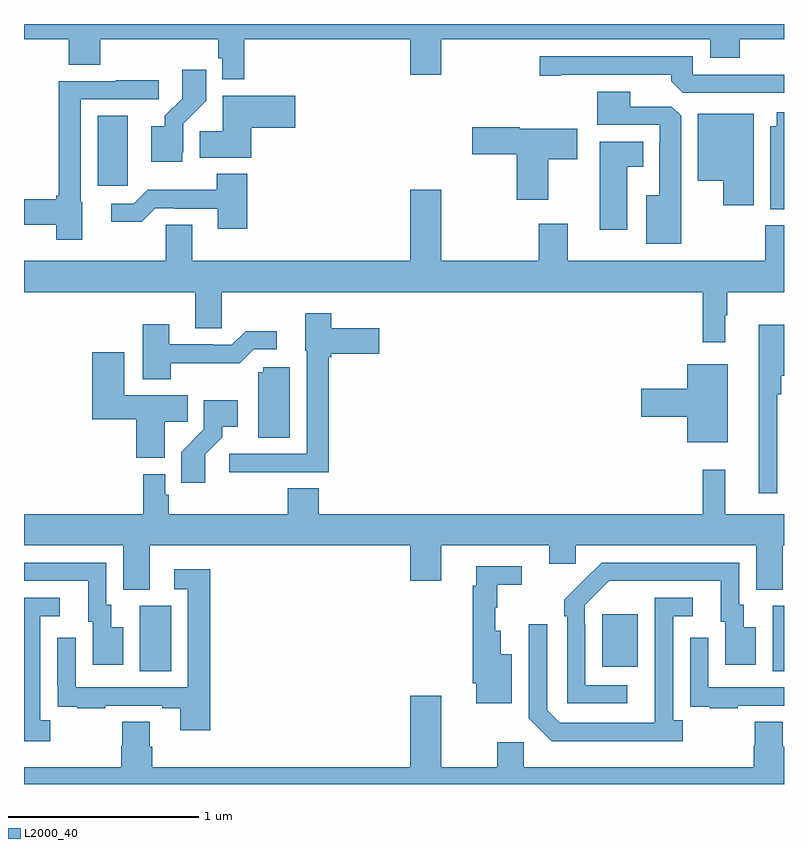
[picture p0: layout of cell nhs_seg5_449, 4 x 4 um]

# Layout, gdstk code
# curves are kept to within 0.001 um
import gdstk
lib = gdstk.Library(unit=1e-6, precision=1e-09)
def R(c, l, rs):  # rectangles x0, y0, x1, y1
    for r in rs: c.add(gdstk.rectangle(r[:2], r[2:], *l))
def P(c, l, *ps):  # polygons
    for p in ps: c.add(gdstk.Polygon(p, *l))
L2000_40 = (2000, 40)

nhs_seg5_449 = lib.new_cell('nhs_seg5_449')
R(nhs_seg5_449, L2000_40, [(139.61,893.392,139.774,893.736), (142.94,893.392,143,893.736), (142.043,893.417,142.231,893.692), (139.388,895.947,139.546,896.317)])
P(nhs_seg5_449, L2000_40, [(140.159,896.72),(141.032,896.72),(141.032,896.532),(141.196,896.532),(141.196,896.72),(142.613,896.72),(142.613,896.621),(142.766,896.621),(142.766,896.72),(143,896.72),(143,896.799),(139,896.799),(139,896.72),(139.235,896.72),(139.235,896.584),(139.4,896.584),(139.4,896.72),(140.023,896.72),(140.023,896.619),(140.043,896.619),(140.043,896.507),(140.159,896.507)],
  [(143,896.532),(142.521,896.532),(142.521,896.628),(141.714,896.628),(141.714,896.527),(141.826,896.527),(141.826,896.532),(142.406,896.532),(142.406,896.498),(142.467,896.436),(143,896.436)],
  [(139.834,896.124),(139.839,896.124),(139.839,896.275),(139.958,896.394),(139.958,896.557),(139.833,896.557),(139.833,896.405),(139.742,896.315),(139.742,896.26),(139.67,896.26),(139.67,896.075),(139.834,896.075)],
  [(139.306,895.86),(139.299,895.86),(139.299,896.403),(139.708,896.403),(139.708,896.502),(139.483,896.502),(139.483,896.499),(139.183,896.499),(139.183,895.895),(139.17,895.895),(139.17,895.877),(139,895.877),(139,895.742),(139.17,895.742),(139.17,895.664),(139.306,895.664)],
  [(142.459,896.315),(142.41,896.364),(142.192,896.364),(142.192,896.443),(142.016,896.443),(142.016,896.268),(142.347,896.268),(142.347,896.171),(142.343,896.171),(142.343,895.897),(142.274,895.897),(142.274,895.643),(142.459,895.643)],
  [(140.195,896.252),(140.428,896.252),(140.428,896.422),(140.045,896.422),(140.045,896.234),(139.924,896.234),(139.924,896.096),(140.195,896.096)],
  [(143,896.335),(142.961,896.335),(142.961,896.26),(142.928,896.26),(142.928,895.825),(143,895.825)],
  [(142.84,896.326),(142.547,896.326),(142.547,895.973),(142.679,895.973),(142.679,895.845),(142.84,895.845)],
  [(141.76,896.086),(141.913,896.086),(141.913,896.248),(141.609,896.248),(141.609,896.256),(141.36,896.256),(141.36,896.114),(141.593,896.114),(141.593,895.875),(141.76,895.875)],
  [(142.174,896.048),(142.258,896.048),(142.258,896.179),(142.031,896.179),(142.031,895.716),(142.174,895.716)],
  [(140.174,896.011),(140.014,896.011),(140.014,895.927),(139.651,895.927),(139.578,895.854),(139.458,895.854),(139.458,895.757),(139.619,895.757),(139.692,895.83),(139.792,895.83),(139.792,895.827),(140.021,895.827),(140.021,895.722),(140.174,895.722)],
  [(142.69,895.265),(142.702,895.265),(142.702,895.388),(143,895.388),(143,895.74),(142.9,895.74),(142.9,895.552),(141.862,895.552),(141.862,895.747),(141.71,895.747),(141.71,895.552),(141.196,895.552),(141.196,895.927),(141.032,895.927),(141.032,895.552),(139.885,895.552),(139.885,895.742),(139.746,895.742),(139.746,895.552),(139,895.552),(139,895.388),(139.901,895.388),(139.901,895.198),(140.04,895.198),(140.04,895.388),(142.573,895.388),(142.573,895.125),(142.69,895.125)],
  [(140.303,894.441),(140.603,894.441),(140.603,895.046),(140.616,895.046),(140.616,895.064),(140.869,895.064),(140.869,895.198),(140.616,895.198),(140.616,895.276),(140.48,895.276),(140.48,895.08),(140.487,895.08),(140.487,894.537),(140.079,894.537),(140.079,894.439),(140.303,894.439)],
  [(139.773,895.014),(140.135,895.013),(140.208,895.086),(140.329,895.086),(140.329,895.183),(140.167,895.183),(140.094,895.11),(139.994,895.11),(139.994,895.113),(139.765,895.113),(139.765,895.219),(139.625,895.219),(139.625,894.929),(139.773,894.929)],
  [(142.965,894.851),(142.985,894.851),(142.985,894.947),(143,894.947),(143,895.216),(142.868,895.216),(142.868,894.33),(142.965,894.33)],
  [(139.741,894.706),(139.862,894.706),(139.862,894.844),(139.528,894.844),(139.528,895.072),(139.358,895.072),(139.358,894.719),(139.592,894.719),(139.592,894.515),(139.741,894.515)],
  [(142.705,895.009),(142.49,895.009),(142.49,894.878),(142.248,894.878),(142.248,894.731),(142.49,894.731),(142.49,894.599),(142.705,894.599)],
  [(140.398,894.993),(140.259,894.993),(140.259,894.966),(140.234,894.966),(140.234,894.622),(140.398,894.622)],
  [(139.954,894.535),(140.044,894.625),(140.044,894.68),(140.125,894.68),(140.125,894.82),(139.947,894.82),(139.947,894.665),(139.828,894.546),(139.828,894.384),(139.954,894.384)],
  [(139.663,894.056),(141.032,894.056),(141.032,893.868),(141.196,893.868),(141.196,894.056),(141.764,894.056),(141.764,893.958),(141.903,893.958),(141.903,894.056),(142.853,894.056),(142.853,893.821),(142.993,893.821),(142.993,894.056),(143,894.056),(143,894.22),(142.691,894.22),(142.691,894.454),(142.573,894.454),(142.573,894.22),(140.552,894.22),(140.552,894.356),(140.387,894.356),(140.387,894.22),(139.763,894.22),(139.763,894.321),(139.743,894.321),(139.743,894.43),(139.627,894.43),(139.627,894.22),(139,894.22),(139,894.056),(139.523,894.056),(139.523,893.821),(139.663,893.821)],
  [(142.174,893.319),(141.954,893.319),(141.954,893.639),(141.951,893.639),(141.951,893.739),(142.08,893.868),(142.667,893.868),(142.667,893.652),(142.691,893.652),(142.691,893.427),(142.852,893.427),(142.852,893.623),(142.789,893.623),(142.789,893.742),(142.764,893.742),(142.764,893.964),(142.04,893.964),(141.843,893.769),(141.843,893.681),(141.858,893.681),(141.858,893.223),(142.174,893.223)],
  [(139.522,893.623),(139.459,893.623),(139.459,893.742),(139.434,893.742),(139.434,893.964),(139,893.964),(139,893.868),(139.337,893.868),(139.337,893.652),(139.361,893.652),(139.361,893.427),(139.522,893.427)],
  [(141.568,893.482),(141.508,893.482),(141.508,893.605),(141.479,893.605),(141.479,893.727),(141.49,893.727),(141.49,893.848),(141.619,893.848),(141.619,893.946),(141.38,893.946),(141.38,893.843),(141.361,893.843),(141.361,893.329),(141.38,893.329),(141.38,893.225),(141.568,893.225)],
  [(139.979,893.929),(139.791,893.929),(139.791,893.823),(139.863,893.823),(139.863,893.307),(139.272,893.307),(139.272,893.569),(139.176,893.569),(139.176,893.314),(139.177,893.314),(139.177,893.205),(139.279,893.205),(139.279,893.199),(139.427,893.199),(139.427,893.211),(139.727,893.211),(139.727,893.199),(139.823,893.199),(139.823,893.082),(139.979,893.082)],
  [(142.468,893.134),(142.416,893.134),(142.416,893.682),(142.519,893.682),(142.519,893.778),(142.32,893.778),(142.319,893.121),(141.819,893.121),(141.753,893.187),(141.753,893.641),(141.657,893.641),(141.657,893.145),(141.778,893.024),(142.468,893.024)],
  [(139.138,893.134),(139.086,893.134),(139.086,893.682),(139.189,893.682),(139.189,893.778),(139,893.778),(139,893.024),(139.138,893.024)],
  [(142.757,893.211),(143,893.211),(143,893.307),(142.602,893.307),(142.602,893.569),(142.506,893.569),(142.506,893.314),(142.507,893.314),(142.507,893.205),(142.609,893.205),(142.609,893.199),(142.757,893.199)],
  [(143,892.994),(142.993,892.994),(142.993,893.126),(142.846,893.126),(142.846,893.001),(142.841,893.001),(142.841,892.888),(141.63,892.888),(141.63,893.02),(141.491,893.02),(141.491,892.888),(141.196,892.888),(141.196,893.263),(141.032,893.263),(141.032,892.888),(139.676,892.888),(139.676,892.994),(139.663,892.994),(139.663,893.126),(139.516,893.126),(139.516,893.001),(139.511,893.001),(139.511,892.888),(139,892.888),(139,892.799),(143,892.799)])

lib.write_gds('nhs_seg5_449.gds')
